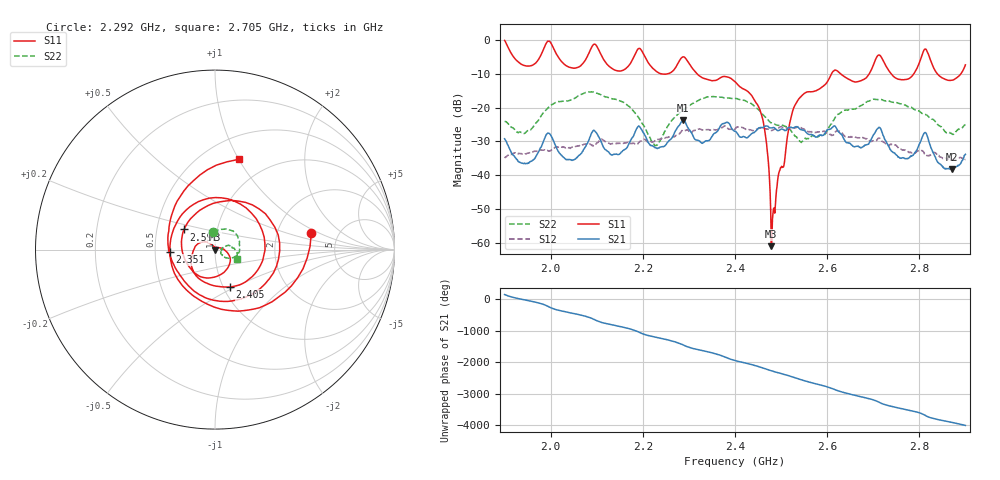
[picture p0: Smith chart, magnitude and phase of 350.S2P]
! C:\Users\rflab\Downloads\Lab5_KD_ZW\350.S2P
! Touchstone 1.1 file saved by VNA.EXE V1.65 (www.ke5fx.com/gpib/readme.htm)
! 11/12/2024 12:35:22 AM
!  Source: HEWLETT PACKARD,8753D,0,6.14
!  Min freq: 1.900000E+009 Hz
!  Max freq: 2.900000E+009 Hz
!  Points: 801
!  Params: S11 S21 S12 S22
# GHZ S RI R 50
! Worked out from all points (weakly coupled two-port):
!   801 points, 1.9 GHz to 2.9 GHz, reference 50 ohm
!   highest |S21| = -23.64 dB at 2.288 GHz (marker M1); lowest = -38.2 dB at 2.871 GHz (marker M2)
!   lowest |S11| = -61.1 dB at 2.479 GHz (marker M3), VSWR 1.00, Z = 49.9 + j0.0444 ohm
!   |S11| at or under -10 dB: 2.318 GHz to 2.609 GHz (290.9 MHz wide, 11.8 % of centre); 2.63 GHz to 2.691 GHz (61.19 MHz wide, 2.3 % of centre); 2.84 GHz to 2.89 GHz (50.25 MHz wide, 1.75 % of centre) (the widest 3 of 5)
!   |S22| runs from -31.3 to -15.3 dB; largest |S21 - S12| = 0.023
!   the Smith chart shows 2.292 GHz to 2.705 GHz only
!   S11 on the Smith chart (normalised r, x): 2.292 GHz: 3.16, +0.81; 2.351 GHz: 0.60, -0.02; 2.405 GHz: 1.08, -0.47; 2.59 GHz: 0.69, +0.16; 2.705 GHz: 0.73, +1.00
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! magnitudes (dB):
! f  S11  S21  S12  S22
! 1.9 GHz  0.0  -29.2  -34.6  -24.0
! 1.941 GHz  -7.4  -36.6  -33.6  -27.6
! 1.994 GHz  -0.3  -27.5  -32.7  -20.1
! 2.067 GHz  -7.2  -33.4  -31.1  -16.0
! 2.191 GHz  -2.4  -25.4  -30.3  -23.0
! 2.234 GHz  -9.6  -32.0  -29.4  -30.4
! 2.288 GHz  -4.9  -23.6  -26.6  -20.6
! 2.292 GHz  -5.3  -24.4  -26.8  -20.2
! 2.351 GHz  -12.0  -28.3  -26.5  -16.7
! 2.4 GHz  -12.2  -27.0  -26.3  -17.3
! 2.405 GHz  -13.0  -27.6  -25.7  -17.3
! 2.458 GHz  -22.1  -25.9  -25.9  -21.6
! 2.479 GHz  -61.1  -26.0  -26.8  -24.5
! 2.526 GHz  -20.5  -26.0  -26.0  -27.8
! 2.567 GHz  -15.2  -28.0  -27.2  -28.3
! 2.59 GHz  -13.7  -28.2  -27.1  -28.2
! 2.705 GHz  -5.7  -27.1  -29.8  -17.5
! 2.734 GHz  -9.0  -31.5  -31.3  -18.0
! 2.777 GHz  -11.3  -34.9  -33.3  -19.7
! 2.814 GHz  -2.6  -27.4  -34.1  -22.0
! 2.871 GHz  -11.9  -38.2  -35.5  -27.8
! 2.9 GHz  -7.3  -33.8  -35.3  -25.0
